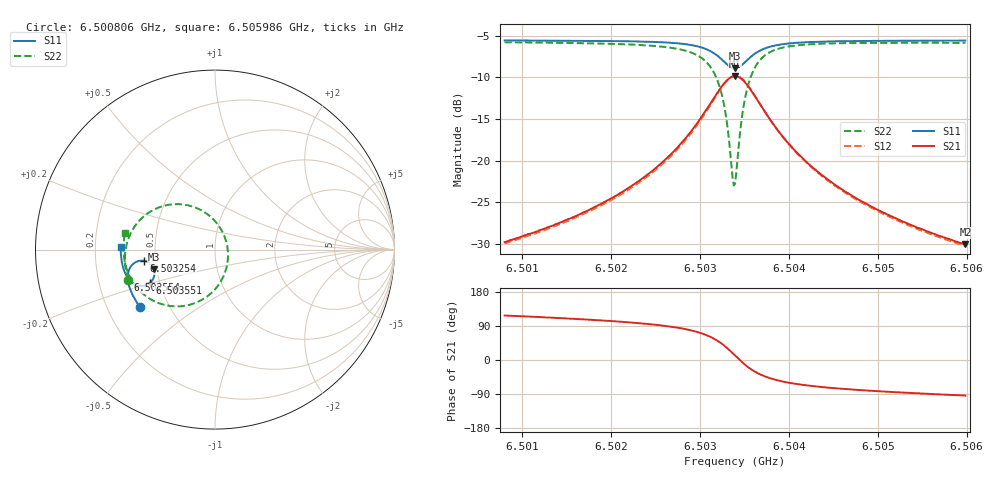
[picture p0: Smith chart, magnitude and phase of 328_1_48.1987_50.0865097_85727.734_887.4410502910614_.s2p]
#  HZ  S  RI  R  50.00
! Rohde & Schwarz Vector Network Analyzer
! Rohde-Schwarz,ZNB20-2Port,1311601062101988,3.16
! Created: UTC 3/20/2024, 11:50:46 AM
! freq[Hz]  re:S11  im:S11  re:S21  im:S21  re:S12  im:S12  re:S22  im:S22
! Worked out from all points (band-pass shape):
!   401 points, 6.500806 GHz to 6.505986 GHz, reference 50 ohm
!   highest |S21| = -9.85 dB at 6.503396 GHz (marker M1); lowest = -30.0 dB at 6.505986 GHz (marker M2)
!   |S21| within 3 dB of the highest: 6.503136 GHz to 6.503655 GHz (518.3 kHz wide, 0.00797 % of centre)
!   lowest |S11| = -8.9 dB at 6.503396 GHz (marker M3), VSWR 2.11, Z = 24.1 - j6.11 ohm
!   |S11| at or under -10 dB: nowhere
!   |S22| runs from -23.0 to -5.8 dB; largest |S21 - S12| = 0.011
!   S11 on the Smith chart (normalised r, x): 6.500806 GHz: 0.34, -0.30; 6.502554 GHz: 0.33, -0.15; 6.503254 GHz: 0.43, -0.06; 6.503551 GHz: 0.44, -0.20; 6.505986 GHz: 0.31, +0.01
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6.5008055e9  -0.4196 -0.3181  -0.0149 0.0289  -0.0134 0.029  -0.4856 -0.1671
6.5016733e9  -0.4579 -0.2551  -0.0145 0.0462  -0.0123 0.0459  -0.5012 -0.077
6.5021396e9  -0.4749 -0.2149  -0.012 0.0645  -0.00901 0.0635  -0.4995 -0.0132
6.5025412e9  -0.485 -0.1718  -0.00317 0.0939  0.000282 0.0917  -0.4814 0.0638
6.5025541e9  -0.4852 -0.1701  -0.00274 0.0952  0.000898 0.093  -0.4802 0.0668
6.5028391e9  -0.4836 -0.1284  0.0202 0.1348  0.024 0.1308  -0.4323 0.1492
6.5030333e9  -0.4667 -0.0912  0.0665 0.1754  0.0693 0.1696  -0.3431 0.2213
6.5031629e9  -0.4352 -0.0669  0.1349 0.1978  0.1361 0.1915  -0.2187 0.2532
6.5032535e9  -0.3974 -0.0619  0.2103 0.188  0.2105 0.1828  -0.0882 0.2251
6.5033053e9  -0.3722 -0.0702  0.2578 0.1603  0.2587 0.1558  -0.00914 0.1684
6.5033701e9  -0.3462 -0.0963  0.3047 0.0979  0.3072 0.0929  0.0614 0.0483
6.503396e9  -0.34 -0.1105  0.3147 0.0662  0.3178 0.0605  0.0719 -0.0104
6.503409e9  -0.338 -0.118  0.3174 0.0499  0.3205 0.0435  0.0727 -0.0404
6.5034867e9  -0.344 -0.1618  0.3007 -0.0428  0.3024 -0.0525  0.0157 -0.2024
6.5035514e9  -0.3649 -0.1871  0.2587 -0.0957  0.2574 -0.1066  -0.0787 -0.2828
6.5036551e9  -0.4035 -0.2017  0.1859 -0.1312  0.1806 -0.1402  -0.225 -0.3161
6.5038234e9  -0.4487 -0.1919  0.1062 -0.1284  0.0993 -0.1333  -0.3686 -0.2706
6.5040048e9  -0.4757 -0.1705  0.0627 -0.109  0.0566 -0.1111  -0.4392 -0.207
6.5042638e9  -0.4962 -0.1405  0.0333 -0.0852  0.0287 -0.0859  -0.4816 -0.1361
6.5046653e9  -0.5121 -0.0994  0.0142 -0.0623  0.0111 -0.062  -0.5041 -0.0597
6.5051316e9  -0.5211 -0.0568  0.00502 -0.0467  0.00276 -0.046  -0.5096 0.00403
6.5059865e9  -0.5258 0.0151  -0.00217 -0.0314  -0.00341 -0.0305  -0.5014 0.0928
